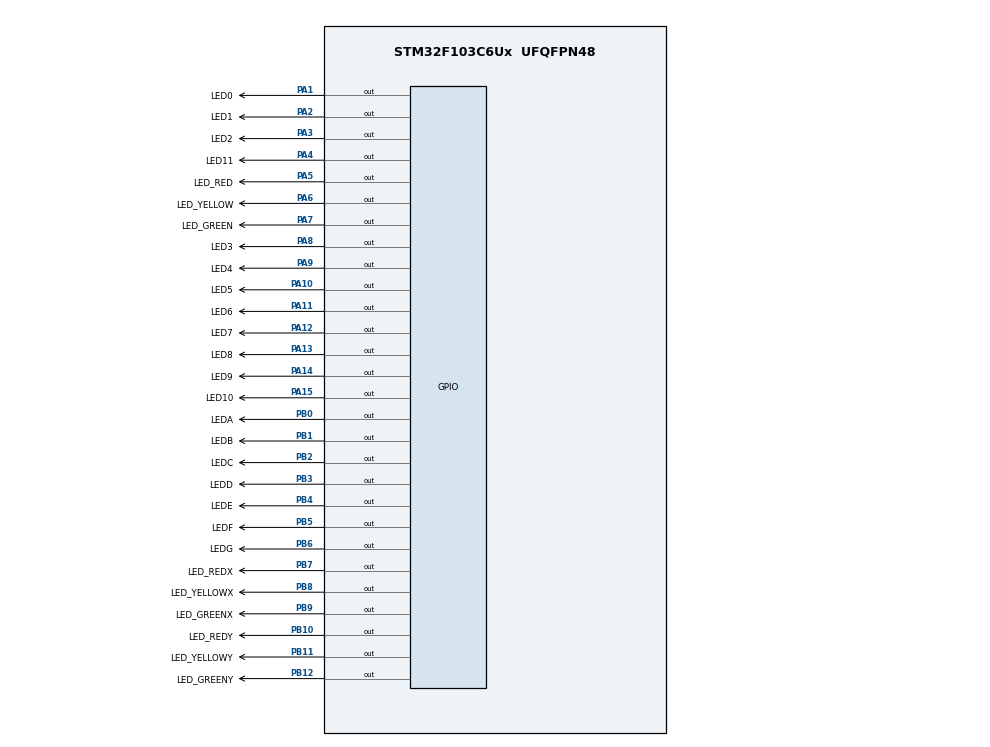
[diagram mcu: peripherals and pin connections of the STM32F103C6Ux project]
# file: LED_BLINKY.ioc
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Mcu.Family=STM32F1
Mcu.Name=STM32F103C6Ux
Mcu.Package=UFQFPN48
NVIC.PriorityGroup=NVIC_PRIORITYGROUP_4
PA1.GPIO_Label=LED0
PA1.Signal=GPIO_Output
PA10.GPIO_Label=LED5
PA10.Signal=GPIO_Output
PA11.GPIO_Label=LED6
PA11.Signal=GPIO_Output
PA12.GPIO_Label=LED7
PA12.Signal=GPIO_Output
PA13.GPIO_Label=LED8
PA13.Signal=GPIO_Output
PA14.GPIO_Label=LED9
PA14.Signal=GPIO_Output
PA15.GPIO_Label=LED10
PA15.Signal=GPIO_Output
PA2.GPIO_Label=LED1
PA2.Signal=GPIO_Output
PA3.GPIO_Label=LED2
PA3.Signal=GPIO_Output
PA4.GPIO_Label=LED11
PA4.Signal=GPIO_Output
PA5.GPIO_Label=LED_RED
PA5.Signal=GPIO_Output
PA6.GPIO_Label=LED_YELLOW
PA6.Signal=GPIO_Output
PA7.GPIO_Label=LED_GREEN
PA7.Signal=GPIO_Output
PA8.GPIO_Label=LED3
PA8.Signal=GPIO_Output
PA9.GPIO_Label=LED4
PA9.Signal=GPIO_Output
PB0.GPIO_Label=LEDA
PB0.Signal=GPIO_Output
PB1.GPIO_Label=LEDB
PB1.Signal=GPIO_Output
PB10.GPIO_Label=LED_REDY
PB10.Signal=GPIO_Output
PB11.GPIO_Label=LED_YELLOWY
PB11.Signal=GPIO_Output
PB12.GPIO_Label=LED_GREENY
PB12.Signal=GPIO_Output
PB2.GPIO_Label=LEDC
PB2.Signal=GPIO_Output
PB3.GPIO_Label=LEDD
PB3.Signal=GPIO_Output
PB4.GPIO_Label=LEDE
PB4.Signal=GPIO_Output
PB5.GPIO_Label=LEDF
PB5.Signal=GPIO_Output
PB6.GPIO_Label=LEDG
PB6.Signal=GPIO_Output
PB7.GPIO_Label=LED_REDX
PB7.Signal=GPIO_Output
PB8.GPIO_Label=LED_YELLOWX
PB8.Signal=GPIO_Output
PB9.GPIO_Label=LED_GREENX
PB9.Signal=GPIO_Output
ProjectManager.HeapSize=0x200
ProjectManager.StackSize=0x400
ProjectManager.TargetToolchain=STM32CubeIDE
RCC.APB1Freq_Value=8000000
RCC.APB2Freq_Value=8000000
VP_SYS_VS_ND.Mode=No_Debug
board=custom

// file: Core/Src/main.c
/* USER CODE BEGIN Header */
/**
  ******************************************************************************
  * @file           : main.c
  * @brief          : Main program body
  ******************************************************************************
  * @attention
  *
  * <h2><center>&copy; Copyright (c) 2024 STMicroelectronics.
  * All rights reserved.</center></h2>
  *
  * This software component is licensed by ST under BSD 3-Clause license,
  * the "License"; You may not use this file except in compliance with the
  * License. You may obtain a copy of the License at:
  *                        opensource.org/licenses/BSD-3-Clause
  *
  ******************************************************************************
  */
/* USER CODE END Header */
#include "main.h"

/* USER CODE BEGIN Includes */
#include "LED_BLINKY.h"
/* USER CODE END Includes */

void SystemClock_Config(void);
static void MX_GPIO_Init(void);

int main(void)
{

  /* MCU Configuration--------------------------------------------------------*/

  /* Reset of all peripherals, Initializes the Flash interface and the Systick. */
  HAL_Init();

  /* Configure the system clock */
  SystemClock_Config();

  /* Initialize all configured peripherals */
  MX_GPIO_Init();
  /* USER CODE BEGIN 2 */
  	  HAL_GPIO_WritePin(LED_RED_GPIO_Port, LED_RED_Pin, GPIO_PIN_SET);
  	  HAL_GPIO_WritePin(LED_YELLOW_GPIO_Port, LED_YELLOW_Pin, GPIO_PIN_SET);
  	  HAL_GPIO_WritePin(LED_GREEN_GPIO_Port, LED_GREEN_Pin, GPIO_PIN_SET);
  	  HAL_GPIO_WritePin(LED_REDX_GPIO_Port, LED_REDX_Pin, GPIO_PIN_RESET);
  	  HAL_GPIO_WritePin(LED_YELLOWX_GPIO_Port, LED_YELLOWX_Pin, GPIO_PIN_RESET);
  	  HAL_GPIO_WritePin(LED_GREENX_GPIO_Port, LED_GREENX_Pin, GPIO_PIN_RESET);
  	  HAL_GPIO_WritePin(LED_REDY_GPIO_Port, LED_REDY_Pin, GPIO_PIN_RESET);
  	  HAL_GPIO_WritePin(LED_YELLOWY_GPIO_Port, LED_YELLOWY_Pin, GPIO_PIN_RESET);
  	  HAL_GPIO_WritePin(LED_GREENY_GPIO_Port, LED_GREENY_Pin, GPIO_PIN_RESET);
  	  HAL_GPIO_WritePin(LED3_GPIO_Port, LED3_Pin, GPIO_PIN_RESET);
  	  HAL_GPIO_WritePin(LED4_GPIO_Port, LED4_Pin, GPIO_PIN_RESET);
  	  HAL_GPIO_WritePin(LED5_GPIO_Port, LED5_Pin, GPIO_PIN_RESET);
  	  HAL_GPIO_WritePin(LED6_GPIO_Port, LED6_Pin, GPIO_PIN_RESET);
  	  HAL_GPIO_WritePin(LED7_GPIO_Port, LED7_Pin, GPIO_PIN_RESET);
  	  HAL_GPIO_WritePin(LED8_GPIO_Port, LED8_Pin, GPIO_PIN_RESET);
  	  HAL_GPIO_WritePin(LED9_GPIO_Port, LED9_Pin, GPIO_PIN_RESET);
  	  HAL_GPIO_WritePin(LED10_GPIO_Port, LED10_Pin, GPIO_PIN_RESET);
  	  HAL_GPIO_WritePin(LED11_GPIO_Port, LED11_Pin, GPIO_PIN_RESET);
  /* USER CODE END 2 */

  /* Infinite loop */
  /* USER CODE BEGIN WHILE */
  	  int counter1 = 6;
  	  int counter2 = 4;
  	  int counter3 = 0;
  while (1)
  {
	    if (counter1 > 2 && counter2 > 0 && counter3 <= 0) {
	    	HAL_GPIO_WritePin(LED_YELLOWX_GPIO_Port, LED_YELLOWX_Pin, GPIO_PIN_RESET);
	    	HAL_GPIO_WritePin(LED_REDY_GPIO_Port, LED_REDY_Pin, GPIO_PIN_RESET);
	        HAL_GPIO_WritePin(LED_REDX_GPIO_Port, LED_REDX_Pin, GPIO_PIN_SET);
	        HAL_GPIO_WritePin(LED_GREENY_GPIO_Port, LED_GREENY_Pin, GPIO_PIN_SET);
	        counter1--;
	        counter2--;
	        Display7Seg(counter1);
	        Display7Seg2(counter2);
	    }
	    if (counter1 == 2 && counter2 <= 0) {
	        HAL_GPIO_WritePin(LED_GREENY_GPIO_Port, LED_GREENY_Pin, GPIO_PIN_RESET);
	        HAL_GPIO_WritePin(LED_YELLOWY_GPIO_Port, LED_YELLOWY_Pin, GPIO_PIN_SET);
	        counter2 = 2;
	        Display7Seg(counter1);
	        Display7Seg2(counter2);
	    }
	    if (counter1 <= 2 && counter2 <= 2 && counter1 == counter2) {
	        Display7Seg(counter1);
	        Display7Seg2(counter2);
	        counter1--;
	        counter2--;
	    }
	    if (counter1 <= -1 && counter2 <= -1 && counter3 == 0) {
	    	        HAL_GPIO_WritePin(LED_YELLOWY_GPIO_Port, LED_YELLOWY_Pin, GPIO_PIN_RESET);
	    	        HAL_GPIO_WritePin(LED_REDX_GPIO_Port, LED_REDX_Pin, GPIO_PIN_RESET);
	    	        HAL_GPIO_WritePin(LED_REDY_GPIO_Port, LED_REDY_Pin, GPIO_PIN_SET);
	    	        HAL_GPIO_WritePin(LED_GREENX_GPIO_Port, LED_GREENX_Pin, GPIO_PIN_SET);
	    	        counter1 = 4;
	    	        counter2 = 6;
	    	        counter3 = 1;
	    }
	    if (counter2 > 2 && counter1 > 0 && counter3 == 1) {
	    	        counter1--;
	    	        counter2--;
	    	        Display7Seg(counter1);
	    	        Display7Seg2(counter2);
	    }
	    if (counter2 == 2 && counter1 <= 0) {
	    	        HAL_GPIO_WritePin(LED_GREENX_GPIO_Port, LED_GREENX_Pin, GPIO_PIN_RESET);
	    	        HAL_GPIO_WritePin(LED_YELLOWX_GPIO_Port, LED_YELLOWX_Pin, GPIO_PIN_SET);
	    	        counter1 = 2;
	    	        Display7Seg(counter1);
	    	        Display7Seg2(counter2);
	    	        counter1--;
	    	        counter2--;
	    }
	    if (counter1 <= 0 && counter2 <= 0 && counter3 == 1) {

	    	        counter1 = 6;
	    	        counter2 = 4;
	    	        counter3 = 0;
	    }
	    HAL_Delay(1000);

    /* USER CODE END WHILE */

  }
}

void SystemClock_Config(void)
{
  RCC_OscInitTypeDef RCC_OscInitStruct = {0};
  RCC_ClkInitTypeDef RCC_ClkInitStruct = {0};

  /** Initializes the RCC Oscillators according to the specified parameters
  * in the RCC_OscInitTypeDef structure.
  */
  RCC_OscInitStruct.OscillatorType = RCC_OSCILLATORTYPE_HSI;
  RCC_OscInitStruct.HSIState = RCC_HSI_ON;
  RCC_OscInitStruct.HSICalibrationValue = RCC_HSICALIBRATION_DEFAULT;
  RCC_OscInitStruct.PLL.PLLState = RCC_PLL_NONE;
  if (HAL_RCC_OscConfig(&RCC_OscInitStruct) != HAL_OK)
  {
    Error_Handler();
  }
  /** Initializes the CPU, AHB and APB buses clocks
  */
  RCC_ClkInitStruct.ClockType = RCC_CLOCKTYPE_HCLK|RCC_CLOCKTYPE_SYSCLK
                              |RCC_CLOCKTYPE_PCLK1|RCC_CLOCKTYPE_PCLK2;
  RCC_ClkInitStruct.SYSCLKSource = RCC_SYSCLKSOURCE_HSI;
  RCC_ClkInitStruct.AHBCLKDivider = RCC_SYSCLK_DIV1;
  RCC_ClkInitStruct.APB1CLKDivider = RCC_HCLK_DIV1;
  RCC_ClkInitStruct.APB2CLKDivider = RCC_HCLK_DIV1;

  if (HAL_RCC_ClockConfig(&RCC_ClkInitStruct, FLASH_LATENCY_0) != HAL_OK)
  {
    Error_Handler();
  }
}

static void MX_GPIO_Init(void)
{
  GPIO_InitTypeDef GPIO_InitStruct = {0};

  /* GPIO Ports Clock Enable */
  __HAL_RCC_GPIOA_CLK_ENABLE();
  __HAL_RCC_GPIOB_CLK_ENABLE();

  /*Configure GPIO pin Output Level */
  HAL_GPIO_WritePin(GPIOA, LED0_Pin|LED1_Pin|LED2_Pin|LED11_Pin
                          |LED_RED_Pin|LED_YELLOW_Pin|LED_GREEN_Pin|LED3_Pin
                          |LED4_Pin|LED5_Pin|LED6_Pin|LED7_Pin
                          |LED8_Pin|LED9_Pin|LED10_Pin, GPIO_PIN_RESET);

  /*Configure GPIO pin Output Level */
  HAL_GPIO_WritePin(GPIOB, LEDA_Pin|LEDB_Pin|LEDC_Pin|LED_REDY_Pin
                          |LED_YELLOWY_Pin|LED_GREENY_Pin|LEDD_Pin|LEDE_Pin
                          |LEDF_Pin|LEDG_Pin|LED_REDX_Pin|LED_YELLOWX_Pin
                          |LED_GREENX_Pin, GPIO_PIN_RESET);

  /*Configure GPIO pins : LED0_Pin LED1_Pin LED2_Pin LED11_Pin
                           LED_RED_Pin LED_YELLOW_Pin LED_GREEN_Pin LED3_Pin
                           LED4_Pin LED5_Pin LED6_Pin LED7_Pin
                           LED8_Pin LED9_Pin LED10_Pin */
  GPIO_InitStruct.Pin = LED0_Pin|LED1_Pin|LED2_Pin|LED11_Pin
                          |LED_RED_Pin|LED_YELLOW_Pin|LED_GREEN_Pin|LED3_Pin
                          |LED4_Pin|LED5_Pin|LED6_Pin|LED7_Pin
                          |LED8_Pin|LED9_Pin|LED10_Pin;
  GPIO_InitStruct.Mode = GPIO_MODE_OUTPUT_PP;
  GPIO_InitStruct.Pull = GPIO_NOPULL;
  GPIO_InitStruct.Speed = GPIO_SPEED_FREQ_LOW;
  HAL_GPIO_Init(GPIOA, &GPIO_InitStruct);

  /*Configure GPIO pins : LEDA_Pin LEDB_Pin LEDC_Pin LED_REDY_Pin
                           LED_YELLOWY_Pin LED_GREENY_Pin LEDD_Pin LEDE_Pin
                           LEDF_Pin LEDG_Pin LED_REDX_Pin LED_YELLOWX_Pin
                           LED_GREENX_Pin */
  GPIO_InitStruct.Pin = LEDA_Pin|LEDB_Pin|LEDC_Pin|LED_REDY_Pin
                          |LED_YELLOWY_Pin|LED_GREENY_Pin|LEDD_Pin|LEDE_Pin
                          |LEDF_Pin|LEDG_Pin|LED_REDX_Pin|LED_YELLOWX_Pin
                          |LED_GREENX_Pin;
  GPIO_InitStruct.Mode = GPIO_MODE_OUTPUT_PP;
  GPIO_InitStruct.Pull = GPIO_NOPULL;
  GPIO_InitStruct.Speed = GPIO_SPEED_FREQ_LOW;
  HAL_GPIO_Init(GPIOB, &GPIO_InitStruct);

}

void Error_Handler(void)
{
  __disable_irq();
  while (1)
  {
  }
}

/************************ (C) COPYRIGHT STMicroelectronics *****END OF FILE****/
